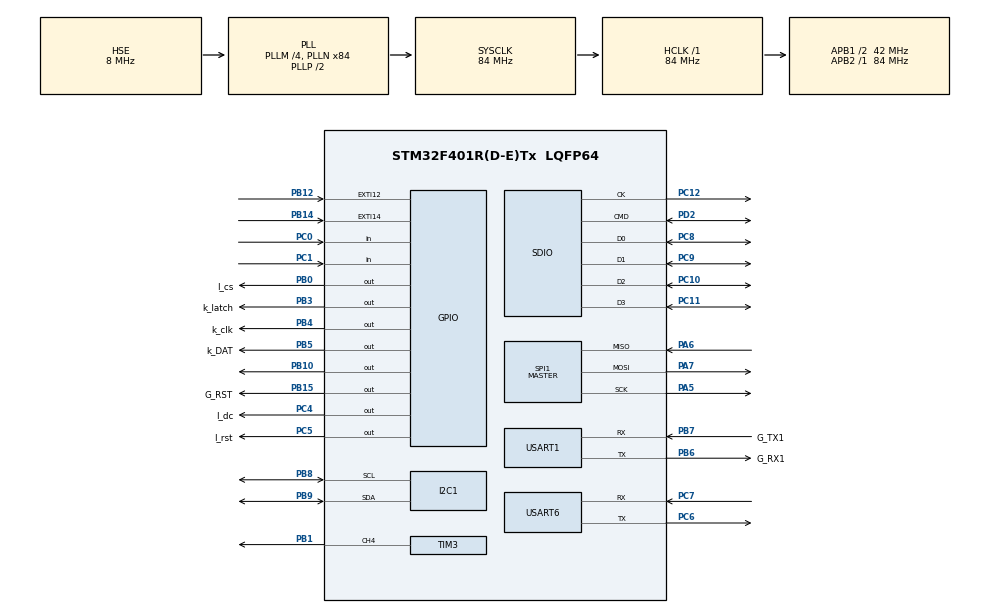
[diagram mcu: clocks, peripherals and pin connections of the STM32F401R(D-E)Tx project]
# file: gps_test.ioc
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Dma.MEMTOMEM.1.Direction=DMA_MEMORY_TO_MEMORY
Dma.MEMTOMEM.1.FIFOMode=DMA_FIFOMODE_ENABLE
Dma.MEMTOMEM.1.FIFOThreshold=DMA_FIFO_THRESHOLD_FULL
Dma.MEMTOMEM.1.Instance=DMA2_Stream0
Dma.MEMTOMEM.1.MemBurst=DMA_MBURST_SINGLE
Dma.MEMTOMEM.1.MemDataAlignment=DMA_MDATAALIGN_BYTE
Dma.MEMTOMEM.1.MemInc=DMA_MINC_ENABLE
Dma.MEMTOMEM.1.Mode=DMA_NORMAL
Dma.MEMTOMEM.1.PeriphBurst=DMA_PBURST_SINGLE
Dma.MEMTOMEM.1.PeriphDataAlignment=DMA_PDATAALIGN_BYTE
Dma.MEMTOMEM.1.PeriphInc=DMA_PINC_DISABLE
Dma.MEMTOMEM.1.Priority=DMA_PRIORITY_LOW
Dma.Request0=SPI1_TX
Dma.Request1=MEMTOMEM
Dma.Request2=USART1_RX
Dma.SPI1_TX.0.Direction=DMA_MEMORY_TO_PERIPH
Dma.SPI1_TX.0.FIFOMode=DMA_FIFOMODE_DISABLE
Dma.SPI1_TX.0.Instance=DMA2_Stream3
Dma.SPI1_TX.0.MemDataAlignment=DMA_MDATAALIGN_BYTE
Dma.SPI1_TX.0.MemInc=DMA_MINC_ENABLE
Dma.SPI1_TX.0.Mode=DMA_NORMAL
Dma.SPI1_TX.0.PeriphDataAlignment=DMA_PDATAALIGN_BYTE
Dma.SPI1_TX.0.PeriphInc=DMA_PINC_DISABLE
Dma.SPI1_TX.0.Priority=DMA_PRIORITY_LOW
Dma.USART1_RX.2.Direction=DMA_PERIPH_TO_MEMORY
Dma.USART1_RX.2.FIFOMode=DMA_FIFOMODE_DISABLE
Dma.USART1_RX.2.Instance=DMA2_Stream2
Dma.USART1_RX.2.MemDataAlignment=DMA_MDATAALIGN_BYTE
Dma.USART1_RX.2.MemInc=DMA_MINC_ENABLE
Dma.USART1_RX.2.Mode=DMA_CIRCULAR
Dma.USART1_RX.2.PeriphDataAlignment=DMA_PDATAALIGN_BYTE
Dma.USART1_RX.2.PeriphInc=DMA_PINC_DISABLE
Dma.USART1_RX.2.Priority=DMA_PRIORITY_HIGH
I2C1.I2C_Mode=I2C_Fast
Mcu.Family=STM32F4
Mcu.Name=STM32F401R(D-E)Tx
Mcu.Package=LQFP64
NVIC.DMA2_Stream2_IRQn=true\:0\:0\:false\:false\:true
NVIC.DMA2_Stream3_IRQn=true\:0\:0\:false\:false\:true
NVIC.EXTI15_10_IRQn=true\:0\:0\:false\:false\:true
NVIC.PriorityGroup=NVIC_PRIORITYGROUP_4
NVIC.USART1_IRQn=true\:0\:0\:false\:false\:true
PA0-WKUP.Mode=SYS_WakeUp0
PA0-WKUP.Signal=SYS_WKUP
PA13.Mode=Serial_Wire
PA13.Signal=SYS_JTMS-SWDIO
PA14.Mode=Serial_Wire
PA14.Signal=SYS_JTCK-SWCLK
PA5.Mode=Full_Duplex_Master
PA5.Signal=SPI1_SCK
PA6.Mode=Full_Duplex_Master
PA6.Signal=SPI1_MISO
PA7.Mode=Full_Duplex_Master
PA7.Signal=SPI1_MOSI
PB0.GPIO_Label=l_cs
PB0.Signal=GPIO_Output
PB1.Signal=S_TIM3_CH4
PB10.Signal=GPIO_Output
PB12.Signal=GPXTI12
PB14.Signal=GPXTI14
PB15.GPIO_Label=G_RST
PB15.Signal=GPIO_Output
PB3.GPIO_Label=k_latch
PB3.Signal=GPIO_Output
PB4.GPIO_Label=k_clk
PB4.Signal=GPIO_Output
PB5.GPIO_Label=k_DAT
PB5.Signal=GPIO_Output
PB6.GPIO_Label=G_RX1
PB6.Mode=Asynchronous
PB6.Signal=USART1_TX
PB7.GPIO_Label=G_TX1
PB7.Mode=Asynchronous
PB7.Signal=USART1_RX
PB8.Mode=I2C
PB8.Signal=I2C1_SCL
PB9.Mode=I2C
PB9.Signal=I2C1_SDA
PC0.Signal=GPIO_Input
PC1.Signal=GPIO_Input
PC10.Mode=SD_4_bits_Wide_bus
PC10.Signal=SDIO_D2
PC11.Mode=SD_4_bits_Wide_bus
PC11.Signal=SDIO_D3
PC12.Mode=SD_4_bits_Wide_bus
PC12.Signal=SDIO_CK
PC4.GPIO_Label=l_dc
PC4.Signal=GPIO_Output
PC5.GPIO_Label=l_rst
PC5.Signal=GPIO_Output
PC6.Mode=Asynchronous
PC6.Signal=USART6_TX
PC7.Mode=Asynchronous
PC7.Signal=USART6_RX
PC8.Mode=SD_4_bits_Wide_bus
PC8.Signal=SDIO_D0
PC9.Mode=SD_4_bits_Wide_bus
PC9.Signal=SDIO_D1
PD2.Mode=SD_4_bits_Wide_bus
PD2.Signal=SDIO_CMD
PH0\ -\ OSC_IN.Mode=HSE-External-Oscillator
PH0\ -\ OSC_IN.Signal=RCC_OSC_IN
PH1\ -\ OSC_OUT.Mode=HSE-External-Oscillator
PH1\ -\ OSC_OUT.Signal=RCC_OSC_OUT
ProjectManager.HeapSize=0x2000
ProjectManager.StackSize=0x2000
ProjectManager.TargetToolchain=SW4STM32
RCC.48MHZClocksFreq_Value=42000000
RCC.AHBFreq_Value=84000000
RCC.APB1CLKDivider=RCC_HCLK_DIV2
RCC.APB1Freq_Value=42000000
RCC.APB1TimFreq_Value=84000000
RCC.APB2Freq_Value=84000000
RCC.APB2TimFreq_Value=84000000
RCC.CortexFreq_Value=84000000
RCC.HCLKFreq_Value=84000000
RCC.HSE_VALUE=8000000
RCC.HSI_VALUE=16000000
RCC.LSE_VALUE=32768
RCC.PLLM=4
RCC.PLLN=84
RCC.PLLSourceVirtual=RCC_PLLSOURCE_HSE
RCC.SYSCLKFreq_VALUE=84000000
RCC.SYSCLKSource=RCC_SYSCLKSOURCE_PLLCLK
RCC.VCOOutputFreq_Value=168000000
SDIO.BusWide=SDIO_BUS_WIDE_1B
SDIO.ClockDiv=2
SDIO.WideMode=SDIO_BUS_WIDE_4B
SH.S_TIM3_CH4.0=TIM3_CH4,PWM Generation4 CH4
SPI1.Mode=SPI_MODE_MASTER
TIM3.Channel-PWM\ Generation4\ CH4=TIM_CHANNEL_4
TIM3.Period=16
TIM3.Prescaler=1
TIM3.Pulse-PWM\ Generation4\ CH4=15
VP_FATFS_VS_SDIO.Mode=SDIO
board=gps_test

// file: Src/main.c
/**
  ******************************************************************************
  * File Name          : main.c
  * Description        : Main program body
  ******************************************************************************
  *
  * Copyright (c) 2017 STMicroelectronics International N.V.
  * All rights reserved.
  *
  * Redistribution and use in source and binary forms, with or without
  * modification, are permitted, provided that the following conditions are met:
  *
  * 1. Redistribution of source code must retain the above copyright notice,
  *    this list of conditions and the following disclaimer.
  * 2. Redistributions in binary form must reproduce the above copyright notice,
  *    this list of conditions and the following disclaimer in the documentation
  *    and/or other materials provided with the distribution.
  * 3. Neither the name of STMicroelectronics nor the names of other
  *    contributors to this software may be used to endorse or promote products
  *    derived from this software without specific written permission.
  * 4. This software, including modifications and/or derivative works of this
  *    software, must execute solely and exclusively on microcontroller or
  *    microprocessor devices manufactured by or for STMicroelectronics.
  * 5. Redistribution and use of this software other than as permitted under
  *    this license is void and will automatically terminate your rights under
  *    this license.
  *
  * THIS SOFTWARE IS PROVIDED BY STMICROELECTRONICS AND CONTRIBUTORS "AS IS"
  * AND ANY EXPRESS, IMPLIED OR STATUTORY WARRANTIES, INCLUDING, BUT NOT
  * LIMITED TO, THE IMPLIED WARRANTIES OF MERCHANTABILITY, FITNESS FOR A
  * PARTICULAR PURPOSE AND NON-INFRINGEMENT OF THIRD PARTY INTELLECTUAL PROPERTY
  * RIGHTS ARE DISCLAIMED TO THE FULLEST EXTENT PERMITTED BY LAW. IN NO EVENT
  * SHALL STMICROELECTRONICS OR CONTRIBUTORS BE LIABLE FOR ANY DIRECT, INDIRECT,
  * INCIDENTAL, SPECIAL, EXEMPLARY, OR CONSEQUENTIAL DAMAGES (INCLUDING, BUT NOT
  * LIMITED TO, PROCUREMENT OF SUBSTITUTE GOODS OR SERVICES; LOSS OF USE, DATA,
  * OR PROFITS; OR BUSINESS INTERRUPTION) HOWEVER CAUSED AND ON ANY THEORY OF
  * LIABILITY, WHETHER IN CONTRACT, STRICT LIABILITY, OR TORT (INCLUDING
  * NEGLIGENCE OR OTHERWISE) ARISING IN ANY WAY OUT OF THE USE OF THIS SOFTWARE,
  * EVEN IF ADVISED OF THE POSSIBILITY OF SUCH DAMAGE.
  *
  ******************************************************************************
  */
#include "main.h"
#include "stm32f4xx_hal.h"
#include "dma.h"
#include "fatfs.h"
#include "i2c.h"
#include "sdio.h"
#include "spi.h"
#include "tim.h"
#include "usart.h"
#include "gpio.h"

/* USER CODE BEGIN Includes */
#include "gui.h"
#include "app_main.h"
#include "gps.h"
#include "compass.h"
#include "inputs.h"
/* USER CODE END Includes */

/* USER CODE BEGIN PV */
/* Private variables ---------------------------------------------------------*/

/* USER CODE END PV */

void SystemClock_Config(void);
void Error_Handler(void);

/* USER CODE BEGIN PFP */
/* Private function prototypes -----------------------------------------------*/

/* USER CODE END PFP */

int main(void)
{

  /* MCU Configuration----------------------------------------------------------*/

  /* Reset of all peripherals, Initializes the Flash interface and the Systick. */
  HAL_Init();

  /* Configure the system clock */
  SystemClock_Config();

  /* Initialize all configured peripherals */
  MX_GPIO_Init();
  MX_DMA_Init();
  MX_SDIO_SD_Init();
  MX_SPI1_Init();
  MX_TIM3_Init();
  MX_FATFS_Init();
  MX_USART6_UART_Init();
  MX_I2C1_Init();
  MX_USART1_UART_Init();

  /* USER CODE BEGIN 2 */
  gui_init();
  inputs_init();

  app_main_init();

  HAL_GPIO_WritePin(GPIOB, GPIO_PIN_15, GPIO_PIN_SET);
  HAL_Delay(50);
  HAL_GPIO_WritePin(GPIOB, GPIO_PIN_15, GPIO_PIN_RESET);
  HAL_Delay(20);
  HAL_GPIO_WritePin(GPIOB, GPIO_PIN_15, GPIO_PIN_SET);

//  uint8_t buf[512] = {0},
//      out[2048] = {0};

  compass_init();
  /* USER CODE END 2 */

  /* Infinite loop */
  /* USER CODE BEGIN WHILE */
  while (1)
  {
//      app_main_upd();
      inputs_update();
      HAL_Delay(10);
  /* USER CODE END WHILE */

  }

}

/** System Clock Configuration
*/
void SystemClock_Config(void)
{

  RCC_OscInitTypeDef RCC_OscInitStruct;
  RCC_ClkInitTypeDef RCC_ClkInitStruct;

    /**Configure the main internal regulator output voltage
    */
  __HAL_RCC_PWR_CLK_ENABLE();

  __HAL_PWR_VOLTAGESCALING_CONFIG(PWR_REGULATOR_VOLTAGE_SCALE2);

    /**Initializes the CPU, AHB and APB busses clocks
    */
  RCC_OscInitStruct.OscillatorType = RCC_OSCILLATORTYPE_HSE;
  RCC_OscInitStruct.HSEState = RCC_HSE_ON;
  RCC_OscInitStruct.PLL.PLLState = RCC_PLL_ON;
  RCC_OscInitStruct.PLL.PLLSource = RCC_PLLSOURCE_HSE;
  RCC_OscInitStruct.PLL.PLLM = 4;
  RCC_OscInitStruct.PLL.PLLN = 84;
  RCC_OscInitStruct.PLL.PLLP = RCC_PLLP_DIV2;
  RCC_OscInitStruct.PLL.PLLQ = 4;
  if (HAL_RCC_OscConfig(&RCC_OscInitStruct) != HAL_OK)
  {
    Error_Handler();
  }

    /**Initializes the CPU, AHB and APB busses clocks
    */
  RCC_ClkInitStruct.ClockType = RCC_CLOCKTYPE_HCLK|RCC_CLOCKTYPE_SYSCLK
                              |RCC_CLOCKTYPE_PCLK1|RCC_CLOCKTYPE_PCLK2;
  RCC_ClkInitStruct.SYSCLKSource = RCC_SYSCLKSOURCE_PLLCLK;
  RCC_ClkInitStruct.AHBCLKDivider = RCC_SYSCLK_DIV1;
  RCC_ClkInitStruct.APB1CLKDivider = RCC_HCLK_DIV2;
  RCC_ClkInitStruct.APB2CLKDivider = RCC_HCLK_DIV1;

  if (HAL_RCC_ClockConfig(&RCC_ClkInitStruct, FLASH_LATENCY_2) != HAL_OK)
  {
    Error_Handler();
  }

    /**Configure the Systick interrupt time
    */
  HAL_SYSTICK_Config(HAL_RCC_GetHCLKFreq()/1000);

    /**Configure the Systick
    */
  HAL_SYSTICK_CLKSourceConfig(SYSTICK_CLKSOURCE_HCLK);

  /* SysTick_IRQn interrupt configuration */
  HAL_NVIC_SetPriority(SysTick_IRQn, 0, 0);
}

void Error_Handler(void)
{
  while(1)
  {
  }
}

/************************ (C) COPYRIGHT STMicroelectronics *****END OF FILE****/
